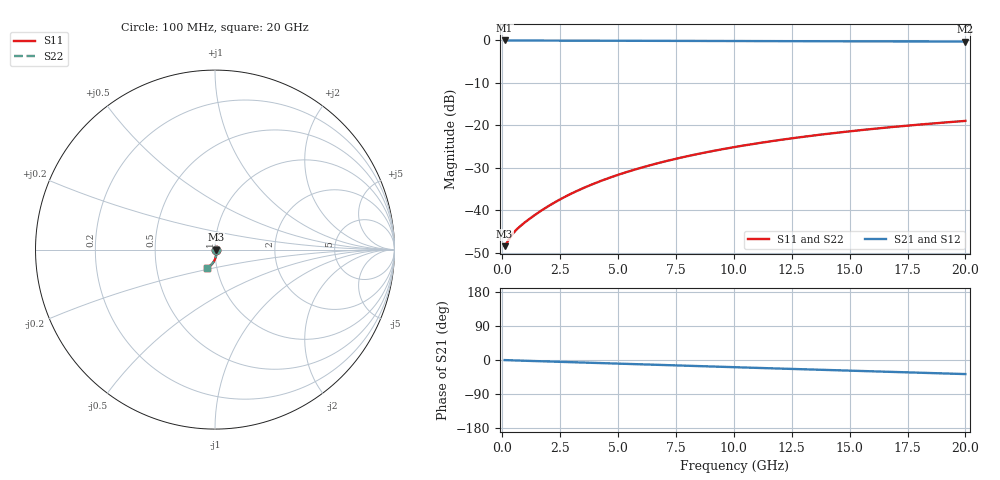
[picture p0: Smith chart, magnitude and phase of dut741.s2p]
! Touchstone file exported from HFSS 2026.1.0
!  File:  C:/ffzhzh/LocalFiles/Ansys_Project_Files/temp_train_TMRDL_741_1783155106_22436.aedt
!  Generated:  04:53:00 PM Jul  4, 2026
!  Design:  TMRDL
!  Project:  temp_train_TMRDL_741_1783155106_22436
! Variables:
!  h_bsmrdl = 2um
!  h_ox = 20um
!  h_rdl = 5um
!  h_sub = 80um
!  h_tmrdl = 3.83um
!  h_tsv = 80um
!  h_via = 3um
!  l_bsmrdl = 300um
!  l_sub = 1057.04um
!  l_tmrdl = 657.04um
!  m_sub = 200um
!  pitch = 19.42um
!  r_tsv = 6um
!  s_tmrdl = 10um
!  w_bsmrdl = 18um
!  w_sub = 500um
!  w_tmrdl = 17.04um
!  x_tsv_center1 = 665.56um
!  x_tsv_center2 = 983.56um
!  x_tsv_center3 = 1657.64um
!  x_tsv_center4 = 1975.64um
!  x_tsv_center5 = 2649.72um
!  x_tsv_center6 = 2967.72um
# GHz S MA R 50.000000
! Terminal data exported
! Port[1] = TM_RDL1_1_T1
! Port[2] = TM_RDL1_1_T2
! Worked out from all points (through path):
!   200 points, 100 MHz to 20 GHz, reference 50 ohm
!   highest |S21| = -0.03 dB at 100 MHz (marker M1); lowest = -0.3 dB at 20 GHz (marker M2)
!   group delay of S21, straight-line fit = 5.14 ps
!   lowest |S11| = -48.4 dB at 100 MHz (marker M3), VSWR 1.01, Z = 50.4 + j0.0225 ohm
!   |S11| at or under -10 dB: start of sweep to end of sweep
!   |S22| runs from -48.4 to -18.9 dB; largest |S21 - S12| = 2.9e-15
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0.1  0.003802 3.4  0.9962 -0.2  0.9962 -0.2  0.003802 3.4
! Gamma 0 0 0 0
! Port Impedance 50 0 50 0
0.4  0.005087 -2.1  0.9949 -0.9  0.9949 -0.9  0.005087 -2.1
0.5  0.005506 -6.6  0.9945 -1.1  0.9945 -1.1  0.005506 -6.6
0.6  0.005894 -11.2  0.9942 -1.3  0.9942 -1.3  0.005894 -11.2
0.8  0.006621 -19.9  0.9937 -1.6  0.9937 -1.6  0.006621 -19.9
1.2  0.008062 -33.9  0.9931 -2.4  0.9931 -2.4  0.008063 -33.9
1.7  0.01002 -45.9  0.9926 -3.4  0.9926 -3.4  0.01002 -45.9
2.3  0.0126 -55.5  0.992 -4.5  0.992 -4.5  0.0126 -55.4
2.9  0.01539 -61.9  0.9913 -5.7  0.9913 -5.7  0.01539 -61.9
3.5  0.01833 -66.6  0.9906 -6.8  0.9906 -6.8  0.01833 -66.6
4.2  0.02193 -70.8  0.9897 -8.1  0.9897 -8.1  0.02193 -70.8
5  0.02622 -74.6  0.9885 -9.7  0.9885 -9.7  0.02623 -74.6
5.9  0.03124 -78.2  0.9872 -11.4  0.9872 -11.4  0.03125 -78.1
6.8  0.0364 -81.3  0.9858 -13.0  0.9858 -13.0  0.03642 -81.3
7.6  0.04109 -83.9  0.9845 -14.5  0.9845 -14.5  0.04111 -83.8
8.4  0.04584 -86.2  0.9833 -16.0  0.9833 -16.0  0.04586 -86.2
10.1  0.05604 -91.0  0.9806 -19.2  0.9806 -19.2  0.05607 -90.9
11.7  0.06565 -95.2  0.9782 -22.1  0.9782 -22.1  0.06569 -95.1
13.4  0.07577 -99.4  0.9757 -25.2  0.9757 -25.2  0.07581 -99.3
15  0.08514 -103.1  0.9733 -28.1  0.9733 -28.1  0.08519 -103.1
16.7  0.09486 -107.0  0.9708 -31.2  0.9708 -31.2  0.09492 -106.9
20  0.1129 -114.2  0.9659 -37.1  0.9659 -37.1  0.113 -114.1
